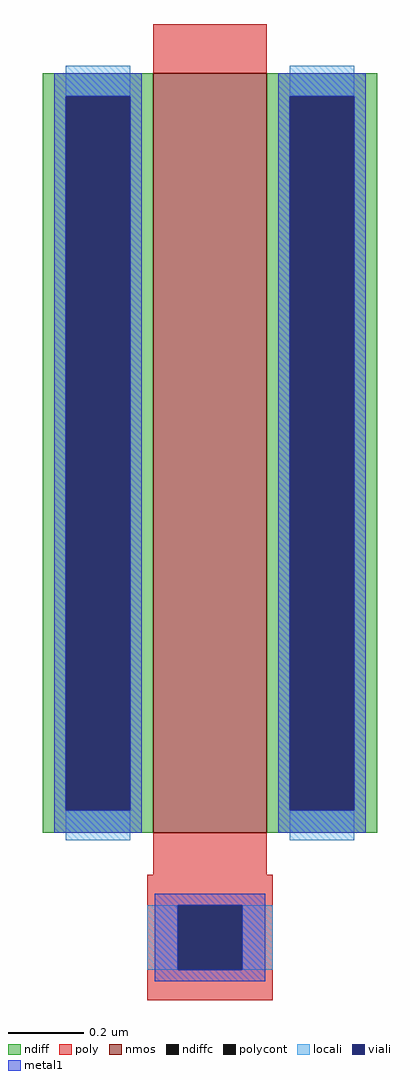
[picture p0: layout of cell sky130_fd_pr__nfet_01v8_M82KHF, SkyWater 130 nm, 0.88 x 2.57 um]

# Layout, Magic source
magic
tech sky130B
magscale 1 2
<< nmos >>
rect -30 -169 30 231
<< ndiff >>
rect -88 219 -30 231
rect -88 -157 -76 219
rect -42 -157 -30 219
rect -88 -169 -30 -157
rect 30 219 88 231
rect 30 -157 42 219
rect 76 -157 88 219
rect 30 -169 88 -157
<< ndiffc >>
rect -76 -157 -42 219
rect 42 -157 76 219
<< poly >>
rect -30 231 30 257
rect -30 -191 30 -169
rect -33 -207 33 -191
rect -33 -241 -17 -207
rect 17 -241 33 -207
rect -33 -257 33 -241
<< polycont >>
rect -17 -241 17 -207
<< locali >>
rect -76 219 -42 235
rect -76 -173 -42 -157
rect 42 219 76 235
rect 42 -173 76 -157
rect -33 -241 -17 -207
rect 17 -241 33 -207
<< viali >>
rect -76 -157 -42 219
rect 42 -157 76 219
rect -17 -241 17 -207
<< metal1 >>
rect -82 219 -36 231
rect -82 -157 -76 219
rect -42 -157 -36 219
rect -82 -169 -36 -157
rect 36 219 82 231
rect 36 -157 42 219
rect 76 -157 82 219
rect 36 -169 82 -157
rect -29 -207 29 -201
rect -29 -241 -17 -207
rect 17 -241 29 -207
rect -29 -247 29 -241
<< properties >>
string gencell sky130_fd_pr__nfet_01v8
string library sky130
string parameters w 2 l 0.3 m 1 nf 1 diffcov 100 polycov 100 guard 0 glc 1 grc 1 gtc 1 gbc 1 tbcov 100 rlcov 100 topc 0 botc 1 poverlap 0 doverlap 1 lmin 0.15 wmin 0.42 compatible {sky130_fd_pr__nfet_01v8 sky130_fd_pr__nfet_01v8_lvt  sky130_fd_bs_flash__special_sonosfet_star  sky130_fd_pr__nfet_g5v0d10v5 sky130_fd_pr__nfet_05v0_nvt  sky130_fd_pr__nfet_03v3_nvt} full_metal 1 viasrc 100 viadrn 100 viagate 100 viagb 0 viagr 0 viagl 0 viagt 0
<< end >>
